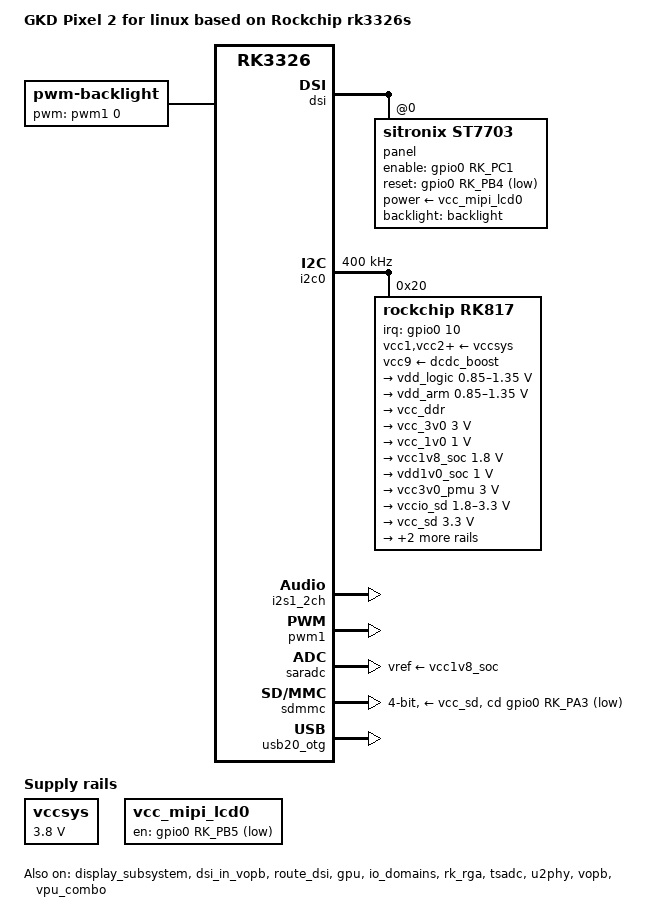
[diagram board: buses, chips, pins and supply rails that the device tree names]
/*
 * (C) Copyright 2019 Hardkernel Co., Ltd
 *
 * SPDX-License-Identifier:     GPL-2.0+
 *
 * GKD Pixel 2 (RK3326S): g350-uboot.dts with the Pixel 2 panel, its
 * GPIO-switched panel rail and its PMIC rails, for the boot logo. Board values
 * match the kernel's rk3326-pixel2-linux.dts.
 */

/dts-v1/;
#include <dt-bindings/display/drm_mipi_dsi.h>
#include <dt-bindings/gpio/gpio.h>
#include <dt-bindings/input/input.h>
#include <dt-bindings/pinctrl/rockchip.h>
#include "px30.dtsi"
#include "rk3326.dtsi"
#include "rk3326-linux.dtsi"

/ {
	model = "GKD Pixel 2 for linux based on Rockchip rk3326s";
	compatible = "gamekiddy,gkd-pixel2", "rockchip,rk3326";

	chosen {
		bootargs = "";
	};

	fiq-debugger {
		compatible = "rockchip,fiq-debugger";
		rockchip,serial-id = <2>;
		rockchip,wake-irq = <0>;
		rockchip,irq-mode-enable = <0>;
		rockchip,baudrate = <115200>;
		interrupts = <GIC_SPI 127 IRQ_TYPE_LEVEL_LOW>;
		pinctrl-names = "default";
		pinctrl-0 = <&uart2m1_xfer>;
		status = "okay";
	};

	backlight: backlight {
		compatible = "pwm-backlight";
		pwms = <&pwm1 0 25000 1>;
		brightness-levels = <
			  0   1   2   3   4   5   6   7
			  8   9  10  11  12  13  14  15
			 16  17  18  19  20  21  22  23
			 24  25  26  27  28  29  30  31
			 32  33  34  35  36  37  38  39
			 40  41  42  43  44  45  46  47
			 48  49  50  51  52  53  54  55
			 56  57  58  59  60  61  62  63
			 64  65  66  67  68  69  70  71
			 72  73  74  75  76  77  78  79
			 80  81  82  83  84  85  86  87
			 88  89  90  91  92  93  94  95
			 96  97  98  99 100 101 102 103
			104 105 106 107 108 109 110 111
			112 113 114 115 116 117 118 119
			120 121 122 123 124 125 126 127
			128 129 130 131 132 133 134 135
			136 137 138 139 140 141 142 143
			144 145 146 147 148 149 150 151
			152 153 154 155 156 157 158 159
			160 161 162 163 164 165 166 167
			168 169 170 171 172 173 174 175
			176 177 178 179 180 181 182 183
			184 185 186 187 188 189 190 191
			192 193 194 195 196 197 198 199
			200 201 202 203 204 205 206 207
			208 209 210 211 212 213 214 215
			216 217 218 219 220 221 222 223
			224 225 226 227 228 229 230 231
			232 233 234 235 236 237 238 239
			240 241 242 243 244 245 246 247
			248 249 250 251 252 253 254 255>;
		default-brightness-level = <200>;
	};

	vccsys: vccsys {
		compatible = "regulator-fixed";
		regulator-name = "vcc3v8_sys";
		regulator-always-on;
		regulator-min-microvolt = <3800000>;
		regulator-max-microvolt = <3800000>;
	};

	vcc_mipi_lcd0: vcc-mipi-lcd0 {
		compatible = "regulator-fixed";
		regulator-name = "vcc_mipi_lcd0";
		gpio = <&gpio0 RK_PB5 GPIO_ACTIVE_LOW>;
		pinctrl-names = "default";
		pinctrl-0 = <&vcc_mipi_lcd_n>;
		regulator-boot-on;
	};

	charge-animation {
		compatible = "rockchip,uboot-charge";
		status = "okay";

		/* Linux handles charging; U-Boot's charge screen assumes a landscape panel */
		rockchip,uboot-charge-on = <0>;
		rockchip,android-charge-on = <0>;
		rockchip,uboot-exit-charge-level = <0>;
		rockchip,uboot-exit-charge-voltage = <3090>;
		rockchip,screen-on-voltage = <3045>;
		rockchip,uboot-low-power-voltage = <3055>;
		rockchip,system-suspend = <0>;
		rockchip,auto-off-screen-interval = <10>;
		rockchip,auto-wakeup-interval = <0>;
		rockchip,auto-wakeup-screen-invert = <1>;
	};
};

&bus_apll {
	bus-supply = <&vdd_logic>;
	status = "okay";
};

&cpu0 {
	cpu-supply = <&vdd_arm>;
};

&display_subsystem {
	status = "okay";
};

&dsi {
	status = "okay";

	panel@0 {
		compatible = "sitronix,st7703", "simple-panel-dsi";
		reg = <0>;
		backlight = <&backlight>;
		power-supply = <&vcc_mipi_lcd0>;
		enable-gpios = <&gpio0 RK_PC1 GPIO_ACTIVE_HIGH>;
		reset-gpios = <&gpio0 RK_PB4 GPIO_ACTIVE_LOW>;
		pinctrl-names = "default";
		pinctrl-0 = <&dsi0_lcd_gpio>;

		prepare-delay-ms = <2>;
		reset-delay-ms = <1>;
		init-delay-ms = <20>;
		enable-delay-ms = <120>;
		disable-delay-ms = <50>;
		unprepare-delay-ms = <20>;

		width-mm = <68>;
		height-mm = <121>;

		dsi,flags = <(MIPI_DSI_MODE_VIDEO           |
			      MIPI_DSI_MODE_VIDEO_BURST     |
			      MIPI_DSI_MODE_LPM             |
			      MIPI_DSI_MODE_EOT_PACKET)>;
		dsi,format = <MIPI_DSI_FMT_RGB888>;
		dsi,lanes = <2>;

		panel-init-sequence = [
			39 00 06 ff 77 01 00 00 13
			15 00 02 ef 08
			39 00 06 ff 77 01 00 00 10
			39 00 03 c0 4f 00
			39 00 03 c1 10 0c
			39 00 03 c2 01 14
			15 00 02 cc 10
			39 00 11 b0 00 0b 13 0d 10 07 02 08 07 1f 04 11 0f 28 2f 1f
			39 00 11 b1 00 0c 13 0c 10 05 02 08 08 1e 05 13 11 27 30 1f
			39 00 06 ff 77 01 00 00 11
			15 00 02 b0 4d
			15 00 02 b1 4d
			15 00 02 b2 87
			15 00 02 b3 80
			15 00 02 b5 45
			15 00 02 b7 85
			15 00 02 b8 20
			15 00 02 c0 09
			15 00 02 c1 78
			15 00 02 c2 78
			15 64 02 d0 88
			39 00 04 e0 00 00 02
			39 00 0c e1 04 b0 06 b0 05 b0 07 b0 00 44 44
			39 00 0d e2 20 20 44 44 96 a0 00 00 96 a0 00 00
			39 00 05 e3 00 00 22 22
			39 00 03 e4 44 44
			39 00 11 e5 0c 90 b0 a0 0e 92 b0 a0 08 8c b0 a0 0a 8e b0 a0
			39 00 05 e6 00 00 22 22
			39 00 03 e7 44 44
			39 00 11 e8 0d 91 b0 a0 0f 93 b0 a0 09 8d b0 a0 0b 8f b0 a0
			39 00 03 e9 36 00
			39 00 08 eb 00 00 e4 e4 44 88 40
			39 00 11 ed c1 a2 bf 0f 67 45 ff ff ff ff 54 76 f0 fb 2a 1c
			39 00 07 ef 10 0d 04 08 3f 1f
			39 00 06 ff 77 01 00 00 13
			39 00 03 e8 00 0e
			39 00 06 ff 77 01 00 00 00
			05 78 01 11
			39 00 06 ff 77 01 00 00 13
			39 0a 03 e8 00 0c
			39 00 03 e8 00 00
			39 00 06 ff 77 01 00 00 00
			05 32 01 29
		];

		panel-exit-sequence = [
			05 10 01 28
			05 78 01 10
		];

		display-timings {
			native-mode = <&timing0>;

			timing0: timing0 {
				clock-frequency = <25000000>;
				hactive = <480>;
				vactive = <640>;
				hfront-porch = <40>;
				hsync-len = <10>;
				hback-porch = <40>;
				vfront-porch = <40>;
				vsync-len = <10>;
				vback-porch = <40>;
				hsync-active = <0>;
				vsync-active = <0>;
				de-active = <0>;
				pixelclk-active = <0>;
			};
		};
	};
};

&dsi_in_vopb {
	status = "okay";
};

&route_dsi {
	connect = <&vopb_out_dsi>;
	status = "okay";
};

&dmc {
	status = "disabled";
};

&emmc {
	status = "disabled";
};

&sfc {
	status = "disabled";
};

&sdio {
	status = "disabled";
};

&gpu {
	mali-supply = <&vdd_logic>;
	status = "okay";
};

&i2c0 {
	status = "okay";
	clock-frequency = <400000>;
	i2c-scl-rising-time-ns = <280>;
	i2c-scl-falling-time-ns = <16>;

	rk817: pmic@20 {
		compatible = "rockchip,rk817";
		reg = <0x20>;
		interrupt-parent = <&gpio0>;
		interrupts = <10 IRQ_TYPE_LEVEL_LOW>;
		pinctrl-names = "default", "pmic-sleep",
				"pmic-power-off", "pmic-reset";
		pinctrl-0 = <&pmic_int>;
		pinctrl-1 = <&soc_slppin_slp>, <&rk817_slppin_slp>;
		pinctrl-2 = <&soc_slppin_gpio>, <&rk817_slppin_pwrdn>;
		pinctrl-3 = <&soc_slppin_rst>, <&rk817_slppin_rst>;
		rockchip,system-power-controller;
		wakeup-source;
		#clock-cells = <1>;
		clock-output-names = "rk808-clkout1", "rk808-clkout2";
		pmic-reset-func = <1>;

		vcc1-supply = <&vccsys>;
		vcc2-supply = <&vccsys>;
		vcc3-supply = <&vccsys>;
		vcc4-supply = <&vccsys>;
		vcc5-supply = <&vccsys>;
		vcc6-supply = <&vccsys>;
		vcc7-supply = <&vccsys>;
		vcc8-supply = <&vccsys>;
		vcc9-supply = <&dcdc_boost>;

		pwrkey {
			status = "okay";
		};

		pinctrl_rk8xx: pinctrl_rk8xx {
			gpio-controller;
			#gpio-cells = <2>;

			rk817_slppin_null: rk817_slppin_null {
				pins = "gpio_slp";
				function = "pin_fun0";
			};

			rk817_slppin_slp: rk817_slppin_slp {
				pins = "gpio_slp";
				function = "pin_fun1";
			};

			rk817_slppin_pwrdn: rk817_slppin_pwrdn {
				pins = "gpio_slp";
				function = "pin_fun2";
			};

			rk817_slppin_rst: rk817_slppin_rst {
				pins = "gpio_slp";
				function = "pin_fun3";
			};
		};

		regulators {
			vdd_logic: DCDC_REG1 {
				regulator-always-on;
				regulator-boot-on;
				regulator-min-microvolt = <850000>;
				regulator-max-microvolt = <1350000>;
				regulator-ramp-delay = <6001>;
				regulator-initial-mode = <0x2>;
				regulator-name = "vdd_logic";
			};

			vdd_arm: DCDC_REG2 {
				regulator-always-on;
				regulator-boot-on;
				regulator-min-microvolt = <850000>;
				regulator-max-microvolt = <1350000>;
				regulator-ramp-delay = <6001>;
				regulator-initial-mode = <0x2>;
				regulator-name = "vdd_arm";
			};

			vcc_ddr: DCDC_REG3 {
				regulator-always-on;
				regulator-boot-on;
				regulator-initial-mode = <0x2>;
				regulator-name = "vcc_ddr";
			};

			vcc_3v0: DCDC_REG4 {
				regulator-always-on;
				regulator-boot-on;
				regulator-min-microvolt = <3000000>;
				regulator-max-microvolt = <3000000>;
				regulator-initial-mode = <0x2>;
				regulator-name = "vcc_3v0";
			};

			vcc_1v0: LDO_REG1 {
				regulator-always-on;
				regulator-boot-on;
				regulator-min-microvolt = <1000000>;
				regulator-max-microvolt = <1000000>;
				regulator-name = "vcc_1v0";
			};

			vcc1v8_soc: LDO_REG2 {
				regulator-always-on;
				regulator-boot-on;
				regulator-min-microvolt = <1800000>;
				regulator-max-microvolt = <1800000>;
				regulator-name = "vcc1v8_soc";
			};

			vdd1v0_soc: LDO_REG3 {
				regulator-always-on;
				regulator-boot-on;
				regulator-min-microvolt = <1000000>;
				regulator-max-microvolt = <1000000>;
				regulator-name = "vcc1v0_soc";
			};

			vcc3v0_pmu: LDO_REG4 {
				regulator-always-on;
				regulator-boot-on;
				regulator-min-microvolt = <3000000>;
				regulator-max-microvolt = <3000000>;
				regulator-name = "vcc3v0_pmu";
			};

			/* 1.8-3.3 V range: U-Boot leaves the TF IO rail as booted */
			vccio_sd: LDO_REG5 {
				regulator-always-on;
				regulator-boot-on;
				regulator-min-microvolt = <1800000>;
				regulator-max-microvolt = <3300000>;
				regulator-name = "vccio_sd";
			};

			vcc_sd: LDO_REG6 {
				regulator-boot-on;
				regulator-min-microvolt = <3300000>;
				regulator-max-microvolt = <3300000>;
				regulator-name = "vcc_sd";
			};

			dcdc_boost: BOOST {
				regulator-always-on;
				regulator-boot-on;
				regulator-min-microvolt = <5000000>;
				regulator-max-microvolt = <5000000>;
				regulator-name = "boost";
			};

			otg_switch: OTG_SWITCH {
				regulator-name = "otg_switch";
			};
		};

		battery {
			compatible = "rk817_battery";
			ocv_table = <3444 3643 3694 3708 3738 3754 3776
				     3790 3805 3826 3848 3878 3921 3967
				     4011 4062 4107 4163 4217 4276 4333>;
			design_capacity = <1730>;
			design_qmax = <1903>;
			bat_res = <111>;
			sleep_enter_current = <300>;
			sleep_exit_current = <300>;
			sleep_filter_current = <100>;
			power_off_thresd = <3400>;
			zero_algorithm_vol = <3950>;
			max_soc_offset = <60>;
			monitor_sec = <5>;
			virtual_power = <0>;
			sample_res = <10>;
			power_dc2otg = <0>;
		};

		charger {
			compatible = "rk817,charger";
			min_input_voltage = <4500>;
			max_input_current = <2000>;
			max_chrg_current = <2000>;
			max_chrg_voltage = <4350>;
			chrg_term_mode = <0>;
			chrg_finish_cur = <300>;
			virtual_power = <0>;
			sample_res = <10>;
			extcon = <&u2phy>;
		};

		rk817_codec: codec {
			#sound-dai-cells = <0>;
			compatible = "rockchip,rk817-codec";
			clocks = <&cru SCLK_I2S1_OUT>;
			clock-names = "mclk";
			pinctrl-names = "default";
			pinctrl-0 = <&i2s1_2ch_mclk>;
			hp-volume = <20>;
			spk-volume = <3>;
			status = "okay";
		};
	};
};

&i2s1_2ch {
	status = "okay";
	#sound-dai-cells = <0>;
};

&io_domains {
	status = "okay";
	vccio1-supply = <&vcc_3v0>;
	vccio2-supply = <&vccio_sd>;
	vccio3-supply = <&vcc_3v0>;
	vccio4-supply = <&vcc_3v0>;
	vccio5-supply = <&vcc_3v0>;
	vccio6-supply = <&vcc_3v0>;
};

&pmu_io_domains {
	status = "okay";
	pmuio1-supply = <&vcc3v0_pmu>;
	pmuio2-supply = <&vcc3v0_pmu>;
};

&pwm1 {
	status = "okay";
};

&rk_rga {
	status = "okay";
};

&saradc {
	status = "okay";
	vref-supply = <&vcc1v8_soc>;
};

&sdmmc {
	bus-width = <4>;
	cap-mmc-highspeed;
	cap-sd-highspeed;
	supports-sd;
	card-detect-delay = <800>;
	ignore-pm-notify;
	disable-wp;
	cd-gpios = <&gpio0 RK_PA3 GPIO_ACTIVE_LOW>;
	sd-uhs-sdr12;
	sd-uhs-sdr25;
	sd-uhs-sdr50;
	sd-uhs-sdr104;
	vqmmc-supply = <&vccio_sd>;
	vmmc-supply = <&vcc_sd>;
	status = "okay";
};

&tsadc {
	pinctrl-names = "gpio", "otpout";
	pinctrl-0 = <&tsadc_otp_gpio>;
	pinctrl-1 = <&tsadc_otp_out>;
	status = "okay";
};

&u2phy {
	status = "okay";

	u2phy_host: host-port {
		status = "okay";
	};

	u2phy_otg: otg-port {
		status = "okay";
	};
};

&usb20_otg {
	status = "okay";
};

&vopb {
	status = "okay";
};

&vopb_mmu {
	status = "okay";
};

&vpu_combo {
	status = "okay";
};

&pinctrl {
	pmic {
		pmic_int: pmic_int {
			rockchip,pins =
				<0 RK_PB2 RK_FUNC_GPIO &pcfg_pull_up>;
		};

		soc_slppin_gpio: soc_slppin_gpio {
			rockchip,pins =
				<0 RK_PA4 RK_FUNC_GPIO &pcfg_output_low>;
		};

		soc_slppin_slp: soc_slppin_slp {
			rockchip,pins =
				<0 RK_PA4 RK_FUNC_1 &pcfg_pull_none>;
		};

		soc_slppin_rst: soc_slppin_rst {
			rockchip,pins =
				<0 RK_PA4 RK_FUNC_2 &pcfg_pull_none>;
		};
	};

	dsi0-lcd {
		dsi0_lcd_gpio: dsi0-lcd-gpio {
			rockchip,pins =
				<0 RK_PC1 RK_FUNC_GPIO &pcfg_pull_none>,
				<0 RK_PB4 RK_FUNC_GPIO &pcfg_pull_up>;
		};
	};

	vcc-mipi-lcd {
		vcc_mipi_lcd_n: vcc-mipi-lcd-n {
			rockchip,pins = <0 RK_PB5 RK_FUNC_GPIO &pcfg_pull_none>;
		};
	};
};
